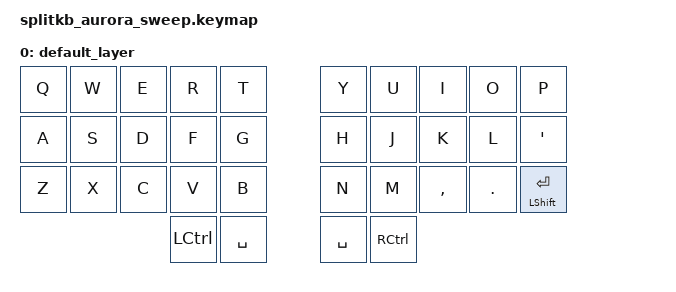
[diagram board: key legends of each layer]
/*
 * Copyright (c) 2022 The ZMK Contributors
 *
 * SPDX-License-Identifier: MIT
 */

#include <behaviors.dtsi>
#include <dt-bindings/zmk/keys.h>
#include <dt-bindings/zmk/bt.h>


&mt {
  //  flavor = "tap-preferred";
   // tapping-term-ms = <200>;
};

/ {

    combos {
    };

    keymap {
        compatible = "zmk,keymap";

        default_layer {
            bindings = <
                &kp Q &kp W &kp E &kp R &kp T                       &kp Y   &kp U  &kp I        &kp O   &kp P
                &kp A &kp S &kp D &kp F &kp G                       &kp H   &kp J  &kp K        &kp L   &kp SQT
                &kp Z &kp X &kp C &kp V &kp B                       &kp N   &kp M  &kp COMMA    &kp DOT &mt LSHFT RET
                            &kp LCTRL &kp SPACE                  &kp SPACE &kp RCTRL
            >;
        };
    };
};
